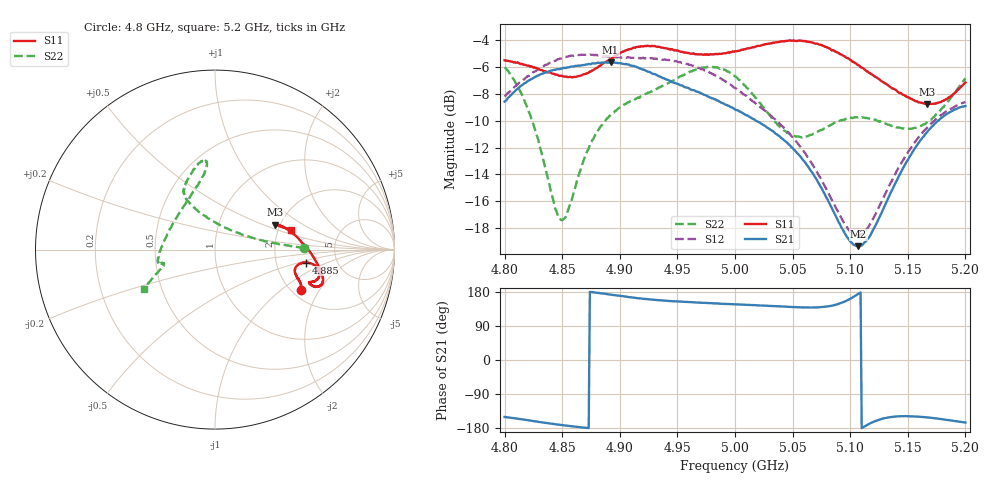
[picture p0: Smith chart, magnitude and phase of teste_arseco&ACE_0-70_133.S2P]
! Network Analyzer HP8722D
! Hewlett-Packard
! Data name: Linha & Wilkinson
! Saver's name: Rodrigo Anjos
! Comments: Teste da utilização de aquisição
! continua pelo VNA HP8722D
! Time and date: 8/5/2025 13:52
!  Frequency  S11  S21  S12  S22
# HZ  S  MA R 50
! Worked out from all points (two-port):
!   401 points, 4.8 GHz to 5.2 GHz, reference 50 ohm
!   highest |S21| = -5.67 dB at 4.892 GHz (marker M1); lowest = -19.3 dB at 5.107 GHz (marker M2)
!   |S21| within 3 dB of the highest: start of sweep to 4.988 GHz
!   lowest |S11| = -8.8 dB at 5.167 GHz (marker M3), VSWR 2.15, Z = 94.3 + j30.4 ohm
!   |S11| at or under -10 dB: nowhere
!   |S22| runs from -17.4 to -6.0 dB; largest |S21 - S12| = 1.1
!   S11 on the Smith chart (normalised r, x): 4.8 GHz: 2.23, -1.40; 4.885 GHz: 2.99, -0.59; 5.2 GHz: 2.35, +0.64
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4.8e9  0.5296 -25.2  0.3724 -150.3  0.3884 9.4  0.498 1.1
4.821e9  0.5065 -20.8  0.4461 -159.5  0.4629 6.2  0.341 5.9
4.848e9  0.4636 -16.2  0.491 -171.0  0.5374 1.9  0.1371 57.4
4.854e9  0.4602 -14.7  0.4977 -173.3  0.5464 1.0  0.1433 81.9
4.867e9  0.4662 -10.8  0.5077 -178.0  0.5558 -0.9  0.2151 110.9
4.885e9  0.5147 -8.1  0.5192 175.8  0.5483 -2.2  0.3055 119.1
4.892e9  0.5354 -8.2  0.5204 172.8  0.5451 -2.0  0.3319 119.3
4.914e9  0.5934 -11.9  0.502 163.9  0.5399 -1.5  0.3814 116.8
4.934e9  0.5948 -16.2  0.4625 157.6  0.5365 -2.3  0.4198 111.2
4.975e9  0.5559 -19.3  0.3923 150.4  0.4843 -6.1  0.4985 98.2
5e9  0.5721 -20.2  0.348 146.9  0.4184 -6.0  0.462 96.2
5.018e9  0.5963 -20.1  0.3162 144.7  0.3657 -3.4  0.3834 103.3
5.043e9  0.6229 -18.2  0.2664 141.0  0.2958 2.1  0.29 130.5
5.067e9  0.6164 -13.8  0.203 138.6  0.2182 9.0  0.2804 165.0
5.096e9  0.544 -3.6  0.1192 155.4  0.1293 35.6  0.3211 -171.5
5.107e9  0.5084 1.5  0.1081 174.5  0.1184 56.9  0.3245 -167.9
5.117e9  0.4747 6.7  0.1177 -167.6  0.13 76.1  0.3213 -166.7
5.134e9  0.4238 14.8  0.1666 -151.1  0.1811 94.6  0.3048 -165.8
5.152e9  0.3822 21.1  0.2338 -148.4  0.2476 100.5  0.295 -164.4
5.167e9  0.3642 22.6  0.2874 -151.6  0.2988 101.2  0.3133 -161.3
5.182e9  0.3776 20.5  0.3306 -157.2  0.3385 101.3  0.3601 -157.1
5.2e9  0.4383 14.6  0.358 -165.0  0.3709 101.7  0.4538 -151.0
